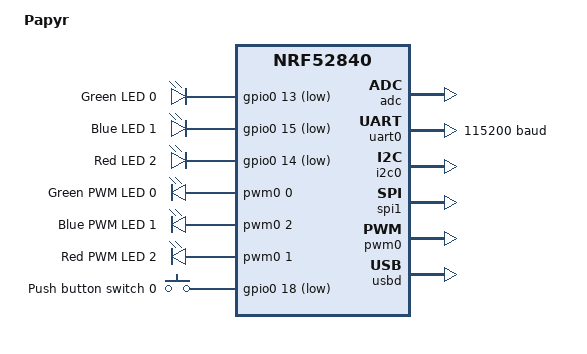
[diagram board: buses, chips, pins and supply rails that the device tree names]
/*
 * Copyright (c) 2019 Ajay Meena <intajayk@gmail.com>
 *
 * SPDX-License-Identifier: Apache-2.0
 */

/dts-v1/;
#include <nordic/nrf52840_qiaa.dtsi>
#include "nrf52840_papyr-pinctrl.dtsi"

/ {
	model = "Papyr";
	compatible = "nordic,pca10056-dk";

	chosen {
		zephyr,console = &uart0;
		zephyr,uart-mcumgr = &uart0;
		zephyr,shell-uart = &uart0;
		zephyr,bt-mon-uart = &uart0;
		zephyr,bt-c2h-uart = &uart0;
		zephyr,sram = &sram0;
		zephyr,flash = &flash0;
	};

	leds {
		compatible = "gpio-leds";
		led0: led_0 {
			gpios = <&gpio0 13 GPIO_ACTIVE_LOW>;
			label = "Green LED 0";
		};
		led1: led_1 {
			gpios = <&gpio0 15 GPIO_ACTIVE_LOW>;
			label = "Blue LED 1";
		};
		led2: led_2 {
			gpios = <&gpio0 14 GPIO_ACTIVE_LOW>;
			label = "Red LED 2";
		};
	};

	pwmleds {
		compatible = "pwm-leds";
		pwm_led0: pwm_led_0 {
			pwms = <&pwm0 0 PWM_MSEC(20) PWM_POLARITY_INVERTED>;
			label = "Green PWM LED 0";
		};
		pwm_led1: pwm_led_1 {
			pwms = <&pwm0 2 PWM_MSEC(20) PWM_POLARITY_INVERTED>;
			label = "Blue PWM LED 1";
		};
		pwm_led2: pwm_led_2 {
			pwms = <&pwm0 1 PWM_MSEC(20) PWM_POLARITY_INVERTED>;
			label = "Red PWM LED 2";
		};
	};

	buttons {
		compatible = "gpio-keys";
		button0: button_0 {
			gpios = <&gpio0 18 GPIO_ACTIVE_LOW>;
			label = "Push button switch 0";
		};
	};

	/* These aliases are provided for compatibility with samples */
	aliases {
		led0 = &led0;
		led1 = &led1;
		led2 = &led2;
		pwm-led0 = &pwm_led0;
		pwm-led1 = &pwm_led1;
		pwm-led2 = &pwm_led2;
		green-pwm-led = &pwm_led0;
		blue-pwm-led = &pwm_led1;
		red-pwm-led = &pwm_led2;
		sw0 = &button0;
	};
};

&adc {
	status = "okay";
};

&gpiote {
	status = "okay";
};

&gpio0 {
	status = "okay";
};

&gpio1 {
	status = "okay";
};

&uart0 {
	compatible = "nordic,nrf-uart";
	current-speed = <115200>;
	status = "okay";
	pinctrl-0 = <&uart0_default>;
	pinctrl-1 = <&uart0_sleep>;
	pinctrl-names = "default", "sleep";
};

&i2c0 {
	compatible = "nordic,nrf-twi";
	status = "okay";
	pinctrl-0 = <&i2c0_default>;
	pinctrl-1 = <&i2c0_sleep>;
	pinctrl-names = "default", "sleep";
};

&spi1 {
	compatible = "nordic,nrf-spi";
	status = "okay";
	pinctrl-0 = <&spi1_default>;
	pinctrl-1 = <&spi1_sleep>;
	pinctrl-names = "default", "sleep";
};

&pwm0 {
	status = "okay";
	pinctrl-0 = <&pwm0_default>;
	pinctrl-1 = <&pwm0_sleep>;
	pinctrl-names = "default", "sleep";
};

&flash0 {
	partitions {
		compatible = "fixed-partitions";
		#address-cells = <1>;
		#size-cells = <1>;

		boot_partition: partition@0 {
			label = "mcuboot";
			reg = <0x00000000 0x0000C000>;
		};
		slot0_partition: partition@c000 {
			label = "image-0";
			reg = <0x0000C000 0x00067000>;
		};
		slot1_partition: partition@73000 {
			label = "image-1";
			reg = <0x00073000 0x00067000>;
		};
		scratch_partition: partition@da000 {
			label = "image-scratch";
			reg = <0x000da000 0x0001e000>;
		};

		/*
		 * The flash starting at 0x000f8000 and ending at
		 * 0x000fffff is reserved for use by the application.
		 */

		/*
		 * Storage partition will be used by FCB/LittleFS/NVS
		 * if enabled.
		 */
		storage_partition: partition@f8000 {
			label = "storage";
			reg = <0x000f8000 0x00008000>;
		};
	};
};

zephyr_udc0: &usbd {
	compatible = "nordic,nrf-usbd";
	status = "okay";
};
